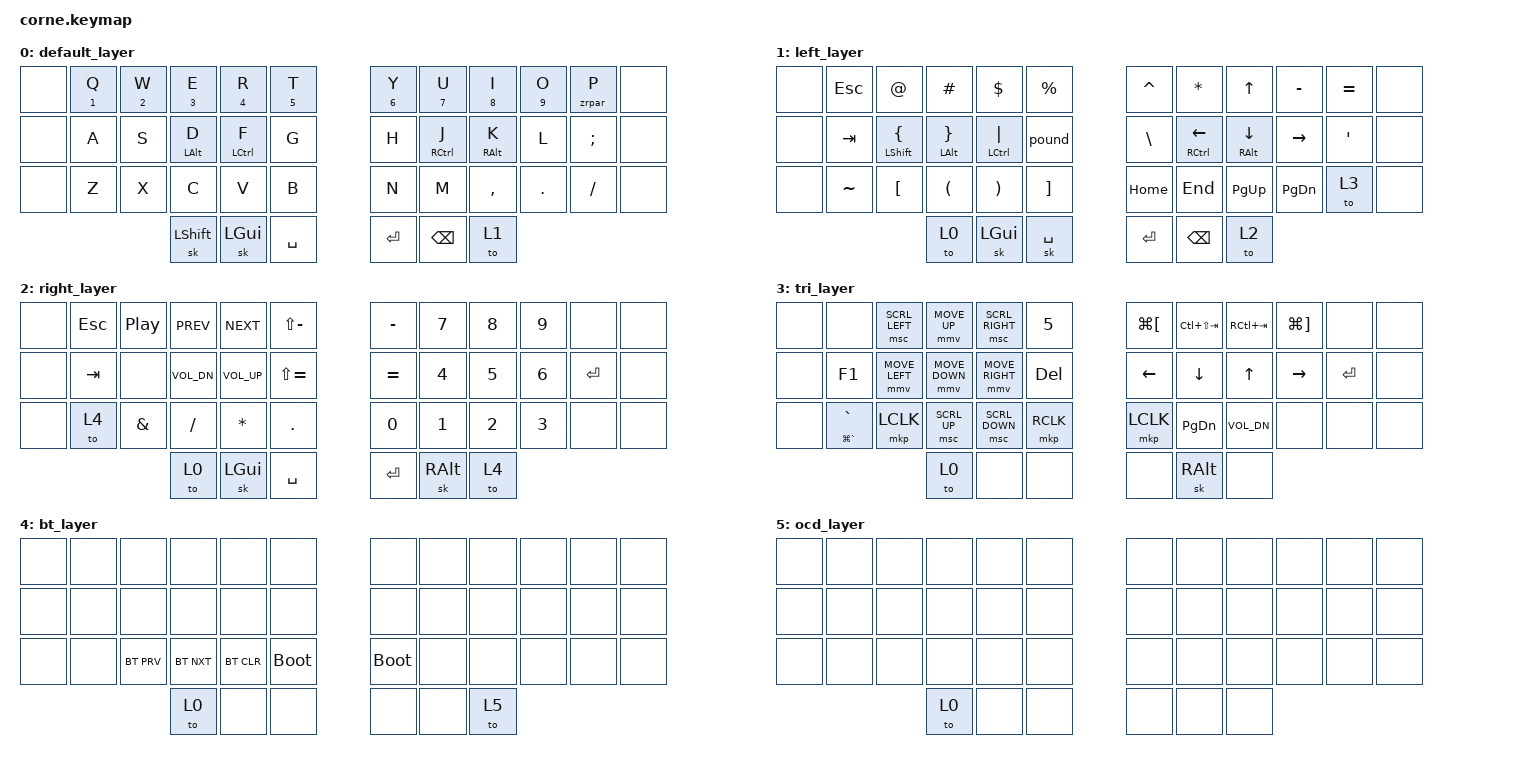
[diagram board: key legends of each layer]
/*
 * Copyright (c) 2020 The ZMK Contributors
 *
 * SPDX-License-Identifier: MIT
 */

#include <behaviors.dtsi>
#include <dt-bindings/zmk/keys.h>
#include <dt-bindings/zmk/bt.h>
#include <dt-bindings/zmk/pointing.h>


#define ZMK_POINTING_DEFAULT_MOVE_VAL 2000  // default: 600
#define ZMK_POINTING_DEFAULT_SCRL_VAL 20 

&mt {
    flavor = "tap-preferred";
    tapping_term_ms = <200>;
};

/ { 

	kscan: kscan {
        compatible = "zmk,kscan-gpio-matrix";
        diode-direction = "col2row";
        wakeup-source;
    };


    behaviors {
        hm: homerow_mods {
            compatible = "zmk,behavior-hold-tap";
            label = "HOMEROW_MODS";
            #binding-cells = <2>;
            tapping-term-ms = <200>;
            quick_tap_ms = <0>;
            flavor = "tap-preferred";
            bindings = <&kp>, <&kp>;
        };

		oexcl: one_exclamation {
            compatible = "zmk,behavior-mod-morph";
            #binding-cells = <0>;
            bindings = <&kp NUMBER_1>, <&kp EXCLAMATION>;
            mods = <(MOD_LSFT|MOD_RSFT)>;
        };

		twat: two_at_sign {
            compatible = "zmk,behavior-mod-morph";
            #binding-cells = <0>;
            bindings = <&kp NUMBER_2>, <&kp AT_SIGN>;
            mods = <(MOD_LSFT|MOD_RSFT)>;
        };

		thhash: three_hash {
            compatible = "zmk,behavior-mod-morph";
            #binding-cells = <0>;
            bindings = <&kp NUMBER_3>, <&kp HASH>;
            mods = <(MOD_LSFT|MOD_RSFT)>;
        };

		fodllr: four_dollar {
            compatible = "zmk,behavior-mod-morph";
            #binding-cells = <0>;
            bindings = <&kp NUMBER_4>, <&kp DOLLAR>;
            mods = <(MOD_LSFT|MOD_RSFT)>;
        };

        fiper: five_percent {
            compatible = "zmk,behavior-mod-morph";
            #binding-cells = <0>;
            bindings = <&kp NUMBER_5>, <&kp PERCENT>;
            mods = <(MOD_LSFT|MOD_RSFT)>;
        };

        sicar: six_caret {
            compatible = "zmk,behavior-mod-morph";
            #binding-cells = <0>;
            bindings = <&kp NUMBER_6>, <&kp CARET>;
            mods = <(MOD_LSFT|MOD_RSFT)>;
        };

        seamp: seven_ampersand {
            compatible = "zmk,behavior-mod-morph";
            #binding-cells = <0>;
            bindings = <&kp NUMBER_7>, <&kp AMPERSAND>;
            mods = <(MOD_LSFT|MOD_RSFT)>;
        };

        east: eight_asterisk {
            compatible = "zmk,behavior-mod-morph";
            #binding-cells = <0>;
            bindings = <&kp NUMBER_8>, <&kp ASTERISK>;
            mods = <(MOD_LSFT|MOD_RSFT)>;
        };

        nlpar: nine_left_parenthesis {
            compatible = "zmk,behavior-mod-morph";
            #binding-cells = <0>;
            bindings = <&kp NUMBER_9>, <&kp LEFT_PARENTHESIS>;
            mods = <(MOD_LSFT|MOD_RSFT)>;
        };

        zrpar: zero_right_parenthesis {
            compatible = "zmk,behavior-mod-morph";
            #binding-cells = <0>;
            bindings = <&kp NUMBER_0>, <&kp RIGHT_PARENTHESIS>;
            mods = <(MOD_LSFT|MOD_RSFT)>;
        };

		qoexcl: q_oexcl {
            compatible = "zmk,behavior-hold-tap";
            label = "Q_ONE_EXCL_MOD";
            #binding-cells = <2>;
            tapping-term-ms = <200>;
            quick_tap_ms = <0>;
            flavor = "tap-preferred";
            bindings = <&oexcl>, <&kp>;
        };

		wtwat: w_twat {
            compatible = "zmk,behavior-hold-tap";
            label = "W_TWO_AT_MOD";
            #binding-cells = <2>;
            tapping-term-ms = <200>;
            quick_tap_ms = <0>;
            flavor = "tap-preferred";
            bindings = <&twat>, <&kp>;
        };

        ethhash: e_thhash {
            compatible = "zmk,behavior-hold-tap";
            label = "E_THREE_HASH_MOD";
            #binding-cells = <2>;
            tapping-term-ms = <200>;
            quick_tap_ms = <0>;
            flavor = "tap-preferred";
            bindings = <&thhash>, <&kp>;
        };

        rfodllr: r_fodllr {
            compatible = "zmk,behavior-hold-tap";
            label = "R_FOUR_DOLLAR_MOD";
            #binding-cells = <2>;
            tapping-term-ms = <200>;
            quick_tap_ms = <0>;
            flavor = "tap-preferred";
            bindings = <&fodllr>, <&kp>;
        };

        tfiper: t_fiper {
            compatible = "zmk,behavior-hold-tap";
            label = "T_FIVE_PERCENT_MOD";
            #binding-cells = <2>;
            tapping-term-ms = <200>;
            quick_tap_ms = <0>;
            flavor = "tap-preferred";
            bindings = <&fiper>, <&kp>;
        };

        ysicar: y_sicar {
            compatible = "zmk,behavior-hold-tap";
            label = "Y_SIX_CARET_MOD";
            #binding-cells = <2>;
            tapping-term-ms = <200>;
            quick_tap_ms = <0>;
            flavor = "tap-preferred";
            bindings = <&sicar>, <&kp>;
        };

        useamp: u_seamp {
            compatible = "zmk,behavior-hold-tap";
            label = "U_SEVEN_AMPERSAND_MOD";
            #binding-cells = <2>;
            tapping-term-ms = <200>;
            quick_tap_ms = <0>;
            flavor = "tap-preferred";
            bindings = <&seamp>, <&kp>;
        };

        ieast: i_east {
            compatible = "zmk,behavior-hold-tap";
            label = "I_EIGHT_ASTERISK_MOD";
            #binding-cells = <2>;
            tapping-term-ms = <200>;
            quick_tap_ms = <0>;
            flavor = "tap-preferred";
            bindings = <&east>, <&kp>;
        };

        onlpar: o_nlpar {
            compatible = "zmk,behavior-hold-tap";
            label = "O_NINE_LEFT_PAR_MOD";
            #binding-cells = <2>;
            tapping-term-ms = <200>;
            quick_tap_ms = <0>;
            flavor = "tap-preferred";
            bindings = <&nlpar>, <&kp>;
        };

        pzrpar: p_zrpar {
            compatible = "zmk,behavior-hold-tap";
            label = "P_ZERO_RIGHT_PAR_MOD";
            #binding-cells = <2>;
            tapping-term-ms = <200>;
            quick_tap_ms = <0>;
            flavor = "tap-preferred";
            bindings = <&zrpar>, <&kp>;
        };
		
		td: tapdance {
            compatible = "zmk,behavior-hold-tap";
            label = "TAPDANCE";
            #binding-cells = <2>;
            tapping-term-ms = <150>;
            quick_tap_ms = <0>;
            flavor = "tap-preferred";
            bindings = <&kp>, <&kp>;
        };		
    };

    macros {
        pound: pound {
            compatible = "zmk,behavior-macro";
            #binding-cells = <0>;
            bindings
                = <&macro_press &kp LCTRL &kp LSHFT>
                , <&macro_tap &kp U &kp A &kp NUMBER_3>
                , <&macro_release &kp LCTRL &kp LSHFT>
                ;
        };
    };

    keymap {
		compatible = "zmk,keymap";
            
    	default_layer {
            // -----------------------------------------------------------------------------------------
            // | none |1 Q !|2 W @|3 E #|4 R $|5 T %|   |6 Y ^|7 U  &|8 I *|9 O (|0 P )| none |
            // | none |  A  |  S  |  D  |  F  |  G  |   |  H  |  J   |  K  |  L  |  ;  | none |
            // | none |  Z  |  X  |  C  |  V  |  B  |   |  N  |  M   |  ,  |  .  |  /  | none |
            //                    | LST | GUI | SPC |   | ENT | BSPC | TO1 |
			bindings = <
				&none    &qoexcl 1 Q    &wtwat 2 W    &ethhash 3 E    &rfodllr 4 R    &tfiper 5 T 				&ysicar 6 Y    &useamp 7 U    &ieast 8 I    &onlpar 9 O    &pzrpar 0 P    &none
				&none    &kp A          &kp S         &hm LALT D      &hm LCTRL F     &kp G 			       	&kp H          &hm RCTRL J    &hm RALT K    &kp L          &kp SEMI       &none
				&none    &kp Z          &kp X         &kp C           &kp V           &kp B				        &kp N          &kp M          &kp COMMA     &kp DOT        &kp FSLH       &none
    			  			                                  &sk LSHIFT    &sk LGUI    &kp SPACE               &kp RET    &kp BACKSPACE    &to 1
			>;
		};		

    	left_layer {
            // -----------------------------------------------------------------------------------------
            // | none |  ESC  |   @  |  #   |   $  |  %  |                                                     |  ^  |  *   |  UP | _ - |  + =  | none |
            // | none |  TAB  |   {  |  }   |   |  |  £  |                                                     | \ | | LEFT |DOWN |RIGHT|  ' "  | none |
            // | none |   ~   |   [  |  (   |   )  |  ]  |                                                     |HOME |  End |PG_UP|PG_DN| TO3   | none |
            //                         | GUI | LWR | SPC |                                                     | ENT | BSPC | TO2 |
			bindings = < 
				&none    &kp ESC      &kp AT        &kp HASH           &kp DLLR            &kp PRCNT                       &kp CARET      &kp ASTERISK              &kp UP_ARROW             &kp MINUS            &kp EQUAL      &none
				&none    &kp TAB      &hm LSHIFT LBRC      &hm LALT RBRC      &hm LCTRL PIPE      &pound 		                   &kp BSLH       &hm RCTRL LEFT_ARROW      &hm RALT DOWN_ARROW      &kp RIGHT_ARROW      &kp SQT        &none
				&none    &kp TILDE    &kp LBKT      &kp LPRN           &kp RPRN            &kp RBKT                        &kp HOME       &kp END                   &kp PG_UP                &kp PG_DN            &to 3          &none
							                        &to 0              &sk LGUI            &sk SPACE                      &kp RET        &kp BACKSPACE             &to 2 
			>;
		};

		right_layer {
			bindings = <
				&none    &kp ESC    &kp C_PP    &kp C_PREV      &kp C_NEXT      &kp LS(MINUS)    		                        &kp MINUS    &kp N7    &kp N8    &kp N9    &none       &none 
				&none    &kp TAB    &none       &kp C_VOL_DN    &kp C_VOL_UP    &kp LS(EQUAL) 			                        &kp EQUAL    &kp N4    &kp N5    &kp N6    &kp ENTER    &none 
				&none    &to 4      &kp AMPS    &kp SLASH       &kp STAR        &kp DOT    			                        &kp N0       &kp N1    &kp N2    &kp N3    &none       &none 
							                        &to 0    &sk LGUI    &kp SPACE                                          &kp RET	   &sk RALT    &to 4 
			>;
		};
						 
		tri_layer {
			bindings = <
				&none    &none                 &msc SCRL_LEFT    &mmv MOVE_UP      &msc SCRL_RIGHT    &kp NUM_5 			&kp LG(LBKT)   &kp LC(LS(TAB))   &kp RC(TAB) &kp LG(RBKT) &none &none
				&none    &kp F1                 &mmv MOVE_LEFT    &mmv MOVE_DOWN    &mmv MOVE_RIGHT    &kp DEL  						&kp LEFT &kp DOWN  &kp UP &kp RIGHT &kp ENTER  &none
				&none    &td LG(GRAVE) GRAVE    &mkp LCLK         &msc SCRL_UP      &msc SCRL_DOWN     &mkp RCLK   				&mkp LCLK &kp PG_DN  &kp K_VOL_DN  &none &none    &none
							 &to 0 &none &none  					&none &sk RALT &none
			>;
		};
		
		bt_layer {
			bindings = <
				&none    &none    &none         &none         &none         &none           								&none          &none    &none    &none    &none    &none
				&none    &none    &none         &none         &none         &none            								&none          &none    &none    &none    &none    &none
				&none    &none    &bt BT_PRV    &bt BT_NXT    &bt BT_CLR    &bootloader       								&bootloader    &none    &none    &none    &none    &none
							 									&to 0    &none    &none  					            &none    &none    &to 5
			>;
		};

        ocd_layer {
			bindings = <
				&none    &none    &none         &none         &none         &none           								&none          &none    &none    &none    &none    &none
				&none    &none    &none         &none         &none         &none            								&none          &none    &none    &none    &none    &none
				&none    &none    &none         &none         &none         &none            								&none          &none    &none    &none    &none    &none
							 									&to 0    &none    &none  					            &none    &none    &none
			>;
		};
	};
};

// |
